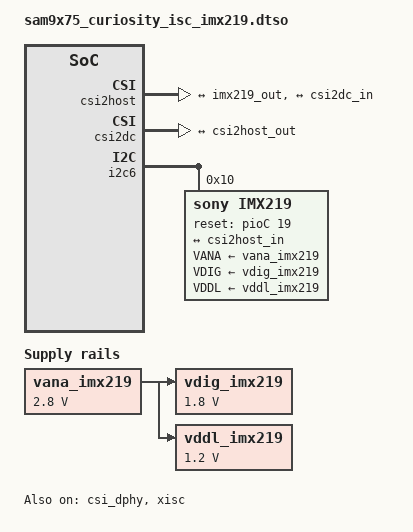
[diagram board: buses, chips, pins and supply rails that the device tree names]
// SPDX-License-Identifier: (GPL-2.0+ OR MIT)
/*
 * Device Tree file for SAM9X75 CURIOSITY board overlay blob
 * for ISC with imx219 sensor. The blob uses isc and i2c6
 *
 * Copyright (C) 2023 Microchip Technology Inc. and its subsidiaries
 * Author: Balamanikandan Gunasundar <balamanikandan.gunasundar@microchip.com>
 *
 */
/dts-v1/;
/plugin/;

#include <dt-bindings/pinctrl/at91.h>
#include <dt-bindings/gpio/gpio.h>

&csi_dphy {
	status = "okay";
};

&{/} {
	vana_imx219: fixed-regulator-vana {
		compatible = "regulator-fixed";

		regulator-name = "VANA-supply";
		regulator-min-microvolt = <2800000>;
		regulator-max-microvolt = <2800000>;
		regulator-always-on;
		regulator-boot-on;
		status = "okay";
	};

	vdig_imx219: fixed-regulator-vdig {
		compatible = "regulator-fixed";

		regulator-name = "VDIG-supply";
		regulator-min-microvolt = <1800000>;
		regulator-max-microvolt = <1800000>;
		regulator-always-on;
		regulator-boot-on;
		vin-supply = <&vana_imx219>;
		status = "okay";
	};

	vddl_imx219: fixed-regulator-vddl {
		compatible = "regulator-fixed";

		regulator-name = "VDDL-supply";
		regulator-min-microvolt = <1200000>;
		regulator-max-microvolt = <1200000>;
		regulator-always-on;
		regulator-boot-on;
		vin-supply = <&vana_imx219>;
		status = "okay";
	};
};

&csi2host {
	#address-cells = <1>;
	#size-cells = <0>;

	status = "okay";

	port@1 {
		reg = <1>;
		csi2host_in: endpoint {
			remote-endpoint = <&imx219_out>;
			data-lanes = <1 2>;
			bus-type = <4>;
			clock-lanes = <0>;
		};
	};

	port@2 {
		reg = <2>;
		csi2host_out: endpoint {
			remote-endpoint = <&csi2dc_in>;
		};
	};
};

&csi2dc {
	status = "okay";

	ports {
		port@0 {
			csi2dc_in: endpoint {
				remote-endpoint = <&csi2host_out>;
				bus-type = <4>; /* MIPI CSI2 D-PHY */
			};
		};
	};
};

&i2c6 {
	/*
	 * Camera sensor add-on board Raspberry Pi v2.1 Camera extension
	 *
	 * Sensor i2c address is fixed at 0x10
	 *
	 * 24 Mhz crystal is soldered on the board and hardwired to sensor
	 *
	 * Power supplies are present on the board and supplied by 3v3
	 * rail from sam9x75_curiosity PMIC
	 */

	#address-cells = <1>;
	#size-cells = <0>;

	imx219: camera@10 {
		compatible = "sony,imx219";
		reg = <0x10>;
		clocks = <&imx219_clk>;
		clock-names = "xclk";
		pinctrl-names = "default";
		pinctrl-0 = <&pinctrl_sensor_reset>;
		VANA-supply = <&vana_imx219>; /* 2.8v */
		VDIG-supply = <&vdig_imx219>; /* 1.8v */
		VDDL-supply = <&vddl_imx219>; /* 1.2v */
		reset-gpios = <&pioC 19 GPIO_ACTIVE_HIGH>;
		status = "okay";

		imx219_clk: camera-clk {
			compatible = "fixed-clock";
			#clock-cells = <0>;
			clock-frequency = <24000000>;
		};

		port {
			imx219_out: endpoint {
				remote-endpoint = <&csi2host_in>;
				clock-lanes = <0>;
				data-lanes = <1 2>;
				link-frequencies = /bits/ 64 <456000000>;
				clock-noncontinuous;
			};
		};
	};
};

&pinctrl {
	csi {
		pinctrl_sensor_reset: sensor_reset {
			atmel,pins = <AT91_PIOC 19 AT91_PERIPH_GPIO AT91_PINCTRL_NONE>;
		};
	};
};

&xisc {
	microchip,mipi-mode;
	status = "okay";
};
